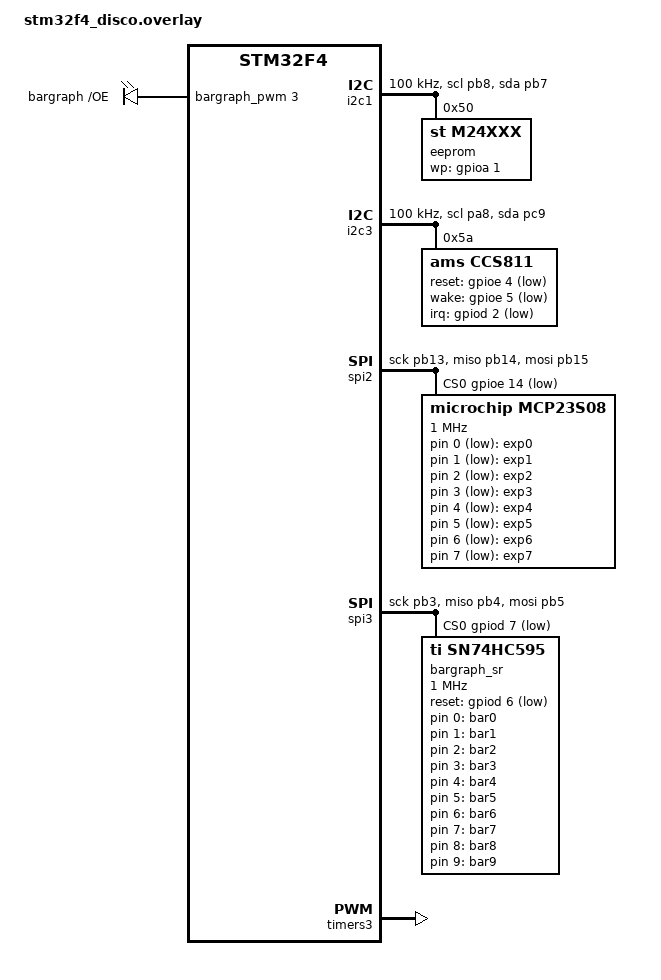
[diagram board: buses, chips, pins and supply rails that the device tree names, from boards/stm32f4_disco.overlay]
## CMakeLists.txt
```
# SPDX-License-Identifier: Apache-2.0

cmake_minimum_required(VERSION 3.20.0)

find_package(Zephyr REQUIRED HINTS $ENV{ZEPHYR_BASE})
project(mcumgr_custom)

target_include_directories(app PRIVATE include)
target_sources(app PRIVATE
  src/main.c
  src/led_ctrl.c
  src/pattern.c
)
target_sources_ifdef(CONFIG_APP_STORE app PRIVATE src/app_store.c)

# custom MCUmgr groups
target_sources_ifdef(CONFIG_APP_LED_MGMT      app PRIVATE src/led_mgmt.c)
target_sources_ifdef(CONFIG_APP_BARGRAPH_MGMT app PRIVATE src/bargraph_mgmt.c)
target_sources_ifdef(CONFIG_APP_AIRQ_MGMT     app PRIVATE src/airq_mgmt.c)
target_sources_ifdef(CONFIG_APP_PATTERN_MGMT  app PRIVATE src/pattern_mgmt.c)
target_sources_ifdef(CONFIG_APP_ALCOHOL_MGMT  app PRIVATE src/alcohol_mgmt.c)
target_sources_ifdef(CONFIG_APP_EEPROM_MGMT   app PRIVATE src/eeprom_mgmt.c)
```

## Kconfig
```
# SPDX-License-Identifier: Apache-2.0

mainmenu "MCUmgr update + custom groups"

config APP_BOOT_BLINK_MS
	int "Boot state of LED 0: blink toggle interval in ms"
	default 1000
	help
	  LED 0 blinks at this rate after boot, until a client changes it.
	  Each test image uses a different rate, so the running version is
	  visible on the board.

config APP_SIMULATE_BAD_IMAGE
	bool "Simulate a broken image (never confirm)"
	help
	  The self-test fails, so the image is never confirmed and MCUboot
	  reverts it at the next reset.

config APP_LED_WQ_STACK_SIZE
	int "Stack size of the LED blink work queue"
	default 1024
	help
	  The blinking runs from a work queue, not from timer ISRs: LEDs on
	  SPI expanders (MCP23S08, 74HC595) cannot be driven from an ISR.

module = APP
module-str = Application
source "subsys/logging/Kconfig.template.log_config"

# Custom MCUmgr groups. IDs in include/app_mgmt.h.

config APP_LED_MGMT
	bool "Custom MCUmgr group 64: led"
	default y
	depends on MCUMGR
	# response: base map -> "leds" list -> one map per LED
	select MCUMGR_SMP_CBOR_MIN_ENCODING_LEVEL_2
	select MCUMGR_SMP_CBOR_MIN_DECODING_LEVEL_1
	help
	  Read and set the state of all the LEDs (board, expander, bargraph):
	  on, off, blink. See include/led_mgmt.h.

config APP_BARGRAPH_MGMT
	bool "Custom MCUmgr group 65: bargraph"
	default y
	depends on MCUMGR && PWM && DT_HAS_TI_SN74HC595_ENABLED
	depends on $(dt_nodelabel_enabled,bargraph_leds)
	select MCUMGR_SMP_CBOR_MIN_DECODING_LEVEL_1
	help
	  BarGraph click: level, segment mask and PWM brightness.
	  See include/bargraph_mgmt.h.

config APP_AIRQ_MGMT
	bool "Custom MCUmgr group 66: airq"
	default y
	depends on MCUMGR && I2C && GPIO && DT_HAS_AMS_CCS811_ENABLED
	# diag response: base map -> "probe" list -> one map per address
	select MCUMGR_SMP_CBOR_MIN_ENCODING_LEVEL_2
	help
	  Air Quality 3 click (CCS811): eCO2 and TVOC, and an I2C diagnostic.
	  See include/airq_mgmt.h.

# the comma of "zephyr,user" would split the macro arguments
ZEPHYR_USER := zephyr,user

config APP_ALCOHOL_MGMT
	bool "Custom MCUmgr group 68: alcohol"
	default y
	depends on MCUMGR && ADC && $(dt_node_has_prop,/$(ZEPHYR_USER),io-channels)
	help
	  Alcohol click (MQ-3, analog output on the mikroBUS AN pin): sensor
	  voltage, clean air baseline. See include/alcohol_mgmt.h.

config APP_ALCOHOL_WARMUP_S
	int "MQ-3 heater warm-up after power on, in s"
	depends on APP_ALCOHOL_MGMT
	default 180
	help
	  "warming" is true in the measure response during this time after
	  boot: the MQ-3 output drifts while its heater warms up. A new
	  sensor needs about 24 h of burn-in for stable values.

config APP_ALCOHOL_SAMPLES
	int "ADC samples averaged per measure"
	depends on APP_ALCOHOL_MGMT
	range 1 256
	default 16

config APP_EEPROM_MGMT
	bool "Custom MCUmgr group 69: eeprom"
	default y
	depends on MCUMGR && EEPROM && $(dt_nodelabel_enabled,eeprom)
	help
	  EEPROM click raw access (info, read, write, erase) and the LED
	  settings store. See include/eeprom_mgmt.h.

config APP_STORE
	bool "Keep the LED settings in the EEPROM"
	default y
	depends on EEPROM && CRC && $(dt_nodelabel_enabled,eeprom)
	# save a pending change before an SMP reset
	select MCUMGR_MGMT_NOTIFICATION_HOOKS if MCUMGR_GRP_OS
	select MCUMGR_GRP_OS_RESET_HOOK if MCUMGR_GRP_OS
	help
	  LED modes and periods and the bank patterns are saved in the
	  EEPROM click and restored at boot. See include/app_store.h.

if APP_STORE

config APP_STORE_OFFSET
	hex "EEPROM offset of the settings record"
	default 0x300
	help
	  Default: the last 256-byte block of the 24C08 (0x300..0x3ff).

config APP_STORE_SIZE
	int "EEPROM bytes reserved for the settings record"
	default 256
	help
	  Two copies of the record, half each.

config APP_STORE_AUTOSAVE
	bool "Save the settings after each change made over SMP"
	default y
	help
	  Off: only the "eeprom store save" command writes them. Can also be
	  switched at run time (eeprom group, command store).

config APP_STORE_DELAY_MS
	int "Delay between the last change and the save, in ms"
	default 2000
	help
	  Changes within this delay give one EEPROM write (the 24C08 takes
	  about 1 million write cycles per byte).

endif # APP_STORE

config APP_PATTERN_MGMT
	bool "Custom MCUmgr group 67: pattern"
	default y
	depends on MCUMGR
	# response: base map -> "banks" list -> one map per bank
	select MCUMGR_SMP_CBOR_MIN_ENCODING_LEVEL_2
	select MCUMGR_SMP_CBOR_MIN_DECODING_LEVEL_1
	help
	  LED patterns run by the firmware (k2000, chase, fill, alternate,
	  counter) on the board, expander or bargraph LEDs.
	  See include/pattern_mgmt.h.

config APP_AIRQ_INIT_DELAY_MS
	int "Delay before the CCS811 start, in ms"
	depends on APP_AIRQ_MGMT
	default 2500
	help
	  src/airq_mgmt.c starts the sensor after this delay, once the USB
	  log is up, so a failure is visible. It tries 3 times, then the
	  measure command tries again every 5 s.

source "Kconfig.zephyr"
```

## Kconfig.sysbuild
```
# SPDX-License-Identifier: Apache-2.0

# STM32F407VG: 128 KiB sectors -> swap using scratch (keeps test / confirm
# and rollback), as the other STM32F4 boards of Zephyr.
choice MCUBOOT_MODE
	default MCUBOOT_MODE_SWAP_SCRATCH if "$(BOARD)" = "stm32f4_disco"
endchoice

source "share/sysbuild/Kconfig"
```

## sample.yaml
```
sample:
  name: MCUmgr update + custom groups
  description: >
    Signed MCUboot application: image update over SMP/UART plus custom
    SMP groups (LED control and application version)
common:
  sysbuild: true
  # no console output: tested with scripts/smp_client.py, see README.md
  build_only: true
  platform_allow:
    - stm32f4_disco
  integration_platforms:
    - stm32f4_disco
  tags: mcumgr mcuboot dfu
tests:
  sample.mcumgr_custom.v1: {}
  sample.mcumgr_custom.v2:
    extra_args: EXTRA_CONF_FILE="v2.conf"
  sample.mcumgr_custom.bad:
    extra_args: EXTRA_CONF_FILE="bad.conf"
  sample.mcumgr_custom.alcohol:
    extra_args:
      - EXTRA_DTC_OVERLAY_FILE="boards/clicks/alcohol_slot1.overlay"
      - EXTRA_CONF_FILE="boards/clicks/alcohol_slot1.conf"
```

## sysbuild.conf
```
# Build MCUboot together with the application.
# The MCUboot mode depends on the flash layout of the board: Kconfig.sysbuild
SB_CONFIG_BOOTLOADER_MCUBOOT=y
```

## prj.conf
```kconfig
# LEDs, click boards (see boards/stm32f4_disco.overlay)
CONFIG_GPIO=y
CONFIG_SPI=y
CONFIG_I2C=y
CONFIG_PWM=y
CONFIG_SENSOR=y
# the airq group drives the CCS811 itself (src/airq_mgmt.c)
CONFIG_CCS811=n
CONFIG_EEPROM=y

# MCUmgr core
CONFIG_NET_BUF=y
CONFIG_ZCBOR=y
CONFIG_CRC=y
CONFIG_BASE64=y
CONFIG_MCUMGR=y
CONFIG_SYSTEM_WORKQUEUE_STACK_SIZE=2304
CONFIG_MAIN_STACK_SIZE=2176

# "led get" answers with up to 22 LEDs (~1 KiB of CBOR): larger SMP buffers.
# NETBUF_SIZE is the largest SMP packet (Zephyr 4.5: the UART MTU option is
# deprecated, the serial frames are 127 bytes anyway).
CONFIG_MCUMGR_TRANSPORT_NETBUF_SIZE=1536

# Image group (upload, test, confirm), OS group (echo, reset).
# The custom groups are CONFIG_APP_*_MGMT (Kconfig, default y).
CONFIG_FLASH=y
CONFIG_FLASH_MAP=y
CONFIG_STREAM_FLASH=y
CONFIG_IMG_MANAGER=y
CONFIG_MCUMGR_GRP_IMG=y
CONFIG_MCUMGR_GRP_OS=y

# OS group info (uname-like: kernel version, build date, board) and
# bootloader info (name, MCUboot mode)
CONFIG_MCUMGR_GRP_OS_INFO=y
CONFIG_MCUMGR_GRP_OS_INFO_BUILD_DATE_TIME=y
CONFIG_MCUMGR_GRP_OS_BOOTLOADER_INFO=y

# Signed image for MCUboot
CONFIG_BOOTLOADER_MCUBOOT=y

# SMP on its own UART (zephyr,uart-mcumgr = USART2, shield FT232RL): it
# carries only SMP frames. MCUboot still prints its boot log there at
# reset; SMP clients skip non-SMP lines.
CONFIG_UART_MCUMGR=y
CONFIG_MCUMGR_TRANSPORT_UART=y

# Console, printk and logs on USB CDC ACM (zephyr,console = cdc_acm_log,
# Discovery micro-USB OTG). Without a host on the port the output is
# dropped, never blocking.
CONFIG_USB_DEVICE_STACK_NEXT=y
CONFIG_CDC_ACM_SERIAL_INITIALIZE_AT_BOOT=y
CONFIG_CDC_ACM_SERIAL_PRODUCT_STRING="mcumgr_custom log"
CONFIG_SERIAL=y
CONFIG_CONSOLE=y
CONFIG_UART_CONSOLE=y
CONFIG_UART_LINE_CTRL=y
CONFIG_PRINTK=y
CONFIG_BOOT_BANNER=y
CONFIG_SHELL=n

CONFIG_LOG=y
CONFIG_LOG_BACKEND_UART=y
# keep the boot messages until the USB log port is enumerated and opened
CONFIG_LOG_PROCESS_THREAD_STARTUP_DELAY_MS=2500
CONFIG_LOG_BUFFER_SIZE=4096
CONFIG_LOG_DEFAULT_LEVEL=3
# app modules (main, led_ctrl, bargraph, airq, alcohol, pattern): _INF info, _DBG debug
CONFIG_APP_LOG_LEVEL_INF=y
```

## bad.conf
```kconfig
# Broken image: boots but never confirms -> rollback test
CONFIG_APP_BOOT_BLINK_MS=50
CONFIG_APP_SIMULATE_BAD_IMAGE=y
CONFIG_MCUBOOT_IMGTOOL_SIGN_VERSION="3.0.0+0"
```

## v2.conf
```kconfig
# Second image: fast blink, higher MCUboot version
CONFIG_APP_BOOT_BLINK_MS=150
CONFIG_MCUBOOT_IMGTOOL_SIGN_VERSION="2.0.0+0"
```

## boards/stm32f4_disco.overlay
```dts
/*
 * SPDX-License-Identifier: Apache-2.0
 *
 * STM32F4DISCOVERY (STM32F407G-DISC1) + MikroElektronika STM32F4 Discovery
 * Shield (MIKROE-1481), from the shield schematic (user manual v1.00):
 *
 *            mikroBUS 1      mikroBUS 2      mikroBUS 3        mikroBUS 4
 *   AN       PC1             PC2             PC5               PB0
 *   RST      PE10            PE12            PE4               PD6
 *   CS       PB12            PE14            PE5               PD7
 *   SPI      SPI2 PB13/14/15 SPI2 PB13/14/15 SPI3 PB3/4/5      SPI3 PB3/4/5
 *   PWM      PA1             PE13            PB1 (TIM3_CH4)    PC8
 *   INT      PE7             PE8             PD2               PC11
 *   UART     USART3 PB10/11  USART3 PB10/11  USART6 PC6/7      USART6 PC6/7
 *   I2C      I2C1 PB8/PB7    I2C1 PB8/PB7    I2C3 PA8/PC9      I2C3 PA8/PC9
 *
 * SMP runs on USART2 (PA2 TX, PA3 RX), wired to the shield FT232RL USB-UART
 * (mini-B connector, /dev/ttyUSB0 on the host). USART2 carries only SMP
 * frames (and the MCUboot boot log).
 *
 * Console, printk and Zephyr logs: USB CDC ACM on the Discovery micro-USB
 * OTG connector (CN5, PA11/PA12), /dev/ttyACM* on the host ("mcumgr_custom
 * log"). Logs never mix with the SMP frames.
 *
 * Click boards of this setup:
 *   mikroBUS 1: EEPROM click (MIKROE-1200): ST 24C08, 1 KiB, I2C1 @ 0x50..0x53
 *               (one address per 256-byte block), WP = PWM pin PA1
 *   mikroBUS 2: MCP23S08 GPIO expander (SPI2) driving 8 LEDs, active low
 *   mikroBUS 3: Air Quality 3 click (CCS811), I2C3 @ 0x5a
 *   mikroBUS 4: BarGraph click (MIKROE-1423): two 74HC595 (SPI3, CS PD7 =
 *               latch, RST PD6 = /MR), 10 LED segments, PWM pin PC8
 *               (TIM3_CH3) = output enable (brightness)
 *
 * Other click boards, as extra overlays (boards/clicks/, see README.md):
 *   alcohol_slot1.overlay   Alcohol click on mikroBUS 1 (instead of the
 *                           EEPROM click), with alcohol_slot1.conf
 *
 * LED indexes of the "led" SMP group, in this order:
 *   0..3   board LEDs (led0..led3 aliases: green, orange, red, blue)
 *   4..11  expander_leds (exp0..exp7)
 *   12..21 bargraph_leds (bar0..bar9)
 */

#include <zephyr/dt-bindings/pwm/pwm.h>
#include "stm32f4_disco_partitions.dtsi"

/ {
	chosen {
		zephyr,code-partition = &slot0_partition;
		zephyr,uart-mcumgr = &usart2;
		zephyr,console = &cdc_acm_log;
		zephyr,shell-uart = &cdc_acm_log;
	};

	aliases {
		eeprom-0 = &eeprom;
	};

	/*
	 * mikroBUS 2: one LED per MCP23S08 pin, lit when the pin is low.
	 * Change GPIO_ACTIVE_LOW to GPIO_ACTIVE_HIGH if the board is wired
	 * the other way.
	 */
	expander_leds: expander-leds {
		compatible = "gpio-leds";

		exp-led-0 { gpios = <&mcp23s08 0 GPIO_ACTIVE_LOW>; label = "exp0"; };
		exp-led-1 { gpios = <&mcp23s08 1 GPIO_ACTIVE_LOW>; label = "exp1"; };
		exp-led-2 { gpios = <&mcp23s08 2 GPIO_ACTIVE_LOW>; label = "exp2"; };
		exp-led-3 { gpios = <&mcp23s08 3 GPIO_ACTIVE_LOW>; label = "exp3"; };
		exp-led-4 { gpios = <&mcp23s08 4 GPIO_ACTIVE_LOW>; label = "exp4"; };
		exp-led-5 { gpios = <&mcp23s08 5 GPIO_ACTIVE_LOW>; label = "exp5"; };
		exp-led-6 { gpios = <&mcp23s08 6 GPIO_ACTIVE_LOW>; label = "exp6"; };
		exp-led-7 { gpios = <&mcp23s08 7 GPIO_ACTIVE_LOW>; label = "exp7"; };
	};

	/*
	 * mikroBUS 4: BarGraph click segments on the 16 outputs of the two
	 * chained 74HC595. Assumed: segment n on output n, lit when high. If
	 * the segments light in the wrong order, change the pin numbers; if
	 * inverted, use GPIO_ACTIVE_LOW.
	 */
	bargraph_leds: bargraph-leds {
		compatible = "gpio-leds";

		bar-0 { gpios = <&bargraph_sr 0 GPIO_ACTIVE_HIGH>; label = "bar0"; };
		bar-1 { gpios = <&bargraph_sr 1 GPIO_ACTIVE_HIGH>; label = "bar1"; };
		bar-2 { gpios = <&bargraph_sr 2 GPIO_ACTIVE_HIGH>; label = "bar2"; };
		bar-3 { gpios = <&bargraph_sr 3 GPIO_ACTIVE_HIGH>; label = "bar3"; };
		bar-4 { gpios = <&bargraph_sr 4 GPIO_ACTIVE_HIGH>; label = "bar4"; };
		bar-5 { gpios = <&bargraph_sr 5 GPIO_ACTIVE_HIGH>; label = "bar5"; };
		bar-6 { gpios = <&bargraph_sr 6 GPIO_ACTIVE_HIGH>; label = "bar6"; };
		bar-7 { gpios = <&bargraph_sr 7 GPIO_ACTIVE_HIGH>; label = "bar7"; };
		bar-8 { gpios = <&bargraph_sr 8 GPIO_ACTIVE_HIGH>; label = "bar8"; };
		bar-9 { gpios = <&bargraph_sr 9 GPIO_ACTIVE_HIGH>; label = "bar9"; };
	};

	/*
	 * mikroBUS 4 PWM pin: segment enable. Checked on the board (slot 3):
	 * the segments are on while the pin is high (normal polarity), so the
	 * pulse width is the time the segments are on (brightness).
	 */
	bargraph_pwm_leds {
		compatible = "pwm-leds";

		bargraph_oe: bargraph-oe {
			pwms = <&bargraph_pwm 3 PWM_USEC(500) PWM_POLARITY_NORMAL>;
			label = "bargraph /OE";
		};
	};
};

/*
 * mikroBUS 1 and 2 I2C: I2C1 on PB8 (SCL) / PB7 (SDA). The board default is
 * PB6 / PB9 for the CS43L22 audio codec, which is disconnected (disabled).
 */
&i2c1 {
	pinctrl-0 = <&i2c1_scl_pb8 &i2c1_sda_pb7>;
	pinctrl-names = "default";
	clock-frequency = <I2C_BITRATE_STANDARD>;
	status = "okay";

	/*
	 * mikroBUS 1: EEPROM click, ST M24C08 (8 Kbit): 4 blocks of 256 bytes,
	 * block n at I2C address 0x50 + n (the driver picks the address from
	 * the offset). ADDR jumper (E2) assumed on 0: 0x50..0x53; on 1 it is
	 * 0x54..0x57, use reg = <0x54>.
	 * WP (write control, high = protected) assumed on the mikroBUS PWM pin
	 * PA1: the driver drives it low only while it writes. If the writes
	 * fail ("eeprom write ... IO"), check that pin on the click.
	 * src/app_store.c keeps the LED settings in the last block (0x300).
	 */
	eeprom: eeprom@50 {
		compatible = "st,m24xxx", "atmel,at24";
		reg = <0x50>;
		size = <1024>;
		pagesize = <16>;
		address-width = <8>;
		timeout = <5>;
		wp-gpios = <&gpioa 1 GPIO_ACTIVE_HIGH>;
	};
};

&audio_codec {
	status = "disabled";
};

/*
 * mikroBUS 3 and 4 I2C: I2C3 on PA8 (SCL) / PC9 (SDA).
 */
&i2c3 {
	pinctrl-0 = <&i2c3_scl_pa8 &i2c3_sda_pc9>;
	pinctrl-names = "default";
	clock-frequency = <I2C_BITRATE_STANDARD>;
	status = "okay";

	/*
	 * mikroBUS 3: Air Quality 3 click, ADDR jumper on 0 = 0x5a (0x5b if
	 * the jumper is on 1: "smp_client.py airq --diag" shows which one
	 * answers). src/airq_mgmt.c drives the sensor itself (CONFIG_CCS811=n)
	 * and starts it about 2.5 s after boot, when the USB log is up;
	 * zephyr,deferred-init keeps the Zephyr driver off if it is enabled.
	 */
	ccs811: ccs811@5a {
		compatible = "ams,ccs811";
		reg = <0x5a>;
		zephyr,deferred-init;
		reset-gpios = <&gpioe 4 GPIO_ACTIVE_LOW>;	/* RST */
		wake-gpios = <&gpioe 5 GPIO_ACTIVE_LOW>;	/* CS */
		irq-gpios = <&gpiod 2 GPIO_ACTIVE_LOW>;		/* INT */
	};
};

/* same peripheral as SPI3 (BarGraph click overlay), at the same address */
&i2s3 {
	status = "disabled";
};

/* Discovery micro-USB OTG (CN5): console and logs */
&zephyr_udc0 {
	cdc_acm_log: cdc_acm_log {
		compatible = "zephyr,cdc-acm-uart";
	};
};

/* mikroBUS 2: MCP23S08 on SPI2, CS PE14 */
&spi2 {
	pinctrl-0 = <&spi2_sck_pb13 &spi2_miso_pb14 &spi2_mosi_pb15>;
	pinctrl-names = "default";
	cs-gpios = <&gpioe 14 GPIO_ACTIVE_LOW>;
	status = "okay";

	mcp23s08: gpio@0 {
		compatible = "microchip,mcp23s08";
		reg = <0>;
		spi-max-frequency = <1000000>;
		gpio-controller;
		#gpio-cells = <2>;
		ngpios = <8>;
		/* if the expander RESET pin is wired to mikroBUS 2 RST: */
		/* reset-gpios = <&gpioe 12 GPIO_ACTIVE_LOW>; */
	};
};

/*
 * mikroBUS 4: BarGraph click on SPI3 (shared with mikroBUS 3, whose click
 * is on I2C), CS PD7 = 74HC595 latch (RCLK): the outputs update at the end
 * of each transfer.
 */
&spi3 {
	pinctrl-0 = <&spi3_sck_pb3 &spi3_miso_pb4 &spi3_mosi_pb5>;
	pinctrl-names = "default";
	cs-gpios = <&gpiod 7 GPIO_ACTIVE_LOW>;
	status = "okay";

	bargraph_sr: gpio@0 {
		compatible = "ti,sn74hc595";
		reg = <0>;
		spi-max-frequency = <1000000>;
		gpio-controller;
		#gpio-cells = <2>;
		ngpios = <16>;
		reset-gpios = <&gpiod 6 GPIO_ACTIVE_LOW>;	/* RST = /MR */
	};
};

/* mikroBUS 4 PWM: TIM3_CH3 on PC8. TIM3 is 16 bit: 84 MHz / 84 = 1 MHz */
&timers3 {
	st,prescaler = <83>;
	status = "okay";

	bargraph_pwm: pwm {
		pinctrl-0 = <&tim3_ch3_pc8>;
		pinctrl-names = "default";
		status = "okay";
	};
};
```

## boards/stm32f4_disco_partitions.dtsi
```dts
/*
 * SPDX-License-Identifier: Apache-2.0
 *
 * MCUboot flash layout for the STM32F407VG (1 MiB) of the STM32F4DISCOVERY,
 * used by the application and by MCUboot (see sysbuild.cmake).
 *
 * Sectors: 4 x 16 KiB, 1 x 64 KiB, 7 x 128 KiB. Both slots and the scratch
 * area are made of 128 KiB sectors (swap using scratch).
 */

&flash0 {
	partitions {
		compatible = "fixed-partitions";
		#address-cells = <1>;
		#size-cells = <1>;

		/* sectors 0-3 */
		boot_partition: partition@0 {
			label = "mcuboot";
			reg = <0x00000000 DT_SIZE_K(64)>;
			read-only;
		};

		/* sector 4 (64 KiB) unused */

		/* sectors 5-6 */
		slot0_partition: partition@20000 {
			label = "image-0";
			reg = <0x00020000 DT_SIZE_K(256)>;
		};

		/* sectors 7-8 */
		slot1_partition: partition@60000 {
			label = "image-1";
			reg = <0x00060000 DT_SIZE_K(256)>;
		};

		/* sector 9 */
		scratch_partition: partition@a0000 {
			label = "image-scratch";
			reg = <0x000a0000 DT_SIZE_K(128)>;
		};
	};
};
```

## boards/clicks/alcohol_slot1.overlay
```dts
/*
 * SPDX-License-Identifier: Apache-2.0
 *
 * Alcohol click (MIKROE-1586, MQ-3) on mikroBUS 1, instead of the EEPROM
 * click: analog output on AN = PC1 (ADC1 IN11). Enables the "alcohol"
 * group. Needs CONFIG_ADC (alcohol_slot1.conf):
 *
 *   west build ... -- \
 *     -DEXTRA_DTC_OVERLAY_FILE=boards/clicks/alcohol_slot1.overlay \
 *     -DEXTRA_CONF_FILE=boards/clicks/alcohol_slot1.conf
 *
 * WARNING: the click runs on 5 V and AN can rise above 3.3 V, more than
 * the ADC pin takes: see README.md, "Click boards".
 */

#include <zephyr/dt-bindings/adc/adc.h>

/ {
	zephyr,user {
		io-channels = <&adc1 11>;
		io-channel-names = "alcohol";
	};
};

/* mikroBUS 1 holds one click */
&eeprom {
	status = "disabled";
};

/*
 * The board default ADC pins (PA1, PA6) are dropped: PA1 is the mikroBUS 1
 * PWM pin. The MQ-3 load resistor is up to tens of kOhm: longest sampling
 * time (480 cycles) to charge the ADC.
 */
&adc1 {
	pinctrl-0 = <&adc1_in11_pc1>;
	pinctrl-names = "default";
	#address-cells = <1>;
	#size-cells = <0>;
	status = "okay";

	channel@b {
		reg = <11>;
		zephyr,gain = "ADC_GAIN_1";
		zephyr,reference = "ADC_REF_INTERNAL";
		zephyr,acquisition-time = <ADC_ACQ_TIME(ADC_ACQ_TIME_TICKS, 480)>;
		zephyr,resolution = <12>;
	};
};
```

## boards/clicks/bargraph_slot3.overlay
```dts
/*
 * SPDX-License-Identifier: Apache-2.0
 *
 * BarGraph click (MIKROE-1423) on mikroBUS 3, instead of the Air Quality 3
 * click: two 74HC595 on SPI3 (CS PE5 = latch, RST PE4 = /MR) driving 10
 * LED segments, PWM pin PB1 (TIM3_CH4) = output enable (brightness).
 * Enables the "bargraph" group and the bargraph LED bank.
 *
 *   west build ... -- \
 *     -DEXTRA_DTC_OVERLAY_FILE=boards/clicks/bargraph_slot3.overlay
 */

#include <zephyr/dt-bindings/pwm/pwm.h>

/ {
	/*
	 * Segments on the 16 outputs of the two chained 74HC595. Assumed:
	 * segment n on output n, lit when high. If the segments light in the
	 * wrong order, change the pin numbers; if inverted, GPIO_ACTIVE_LOW.
	 */
	bargraph_leds: bargraph-leds {
		compatible = "gpio-leds";

		bar-0 { gpios = <&bargraph_sr 0 GPIO_ACTIVE_HIGH>; label = "bar0"; };
		bar-1 { gpios = <&bargraph_sr 1 GPIO_ACTIVE_HIGH>; label = "bar1"; };
		bar-2 { gpios = <&bargraph_sr 2 GPIO_ACTIVE_HIGH>; label = "bar2"; };
		bar-3 { gpios = <&bargraph_sr 3 GPIO_ACTIVE_HIGH>; label = "bar3"; };
		bar-4 { gpios = <&bargraph_sr 4 GPIO_ACTIVE_HIGH>; label = "bar4"; };
		bar-5 { gpios = <&bargraph_sr 5 GPIO_ACTIVE_HIGH>; label = "bar5"; };
		bar-6 { gpios = <&bargraph_sr 6 GPIO_ACTIVE_HIGH>; label = "bar6"; };
		bar-7 { gpios = <&bargraph_sr 7 GPIO_ACTIVE_HIGH>; label = "bar7"; };
		bar-8 { gpios = <&bargraph_sr 8 GPIO_ACTIVE_HIGH>; label = "bar8"; };
		bar-9 { gpios = <&bargraph_sr 9 GPIO_ACTIVE_HIGH>; label = "bar9"; };
	};

	/*
	 * PWM pin: segment enable. Checked on the board: the segments are on
	 * while the pin is high (normal polarity), so the pulse width is the
	 * time the segments are on (brightness).
	 */
	bargraph_pwm_leds {
		compatible = "pwm-leds";

		bargraph_oe: bargraph-oe {
			pwms = <&bargraph_pwm 4 PWM_USEC(500) PWM_POLARITY_NORMAL>;
			label = "bargraph /OE";
		};
	};
};

/* mikroBUS 3 holds one click: RST PE4 and CS PE5 are the BarGraph's now */
&ccs811 {
	status = "disabled";
};

/* CS PE5 = 74HC595 latch (RCLK): the outputs update at the end of each transfer */
&spi3 {
	pinctrl-0 = <&spi3_sck_pb3 &spi3_miso_pb4 &spi3_mosi_pb5>;
	pinctrl-names = "default";
	cs-gpios = <&gpioe 5 GPIO_ACTIVE_LOW>;
	status = "okay";

	bargraph_sr: gpio@0 {
		compatible = "ti,sn74hc595";
		reg = <0>;
		spi-max-frequency = <1000000>;
		gpio-controller;
		#gpio-cells = <2>;
		ngpios = <16>;
		reset-gpios = <&gpioe 4 GPIO_ACTIVE_LOW>;	/* RST = /MR */
	};
};

/* TIM3_CH4 on PB1. TIM3 is 16 bit: 84 MHz / 84 = 1 MHz */
&timers3 {
	st,prescaler = <83>;
	status = "okay";

	bargraph_pwm: pwm {
		pinctrl-0 = <&tim3_ch4_pb1>;
		pinctrl-names = "default";
		status = "okay";
	};
};
```

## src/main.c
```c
/*
 * SPDX-License-Identifier: Apache-2.0
 *
 * MCUmgr over UART (USART2 on the MikroE shield FT232RL):
 * - image group (upload / test / confirm) and OS group (echo / reset):
 *   firmware update with MCUboot rollback
 * - custom groups (IDs in include/app_mgmt.h):
 *   - 64 "led" (src/led_mgmt.c): board, expander and bargraph LEDs
 *     on / off / blink, application version
 *   - 65 "bargraph" (src/bargraph_mgmt.c): BarGraph click level, mask,
 *     brightness
 *   - 66 "airq" (src/airq_mgmt.c): Air Quality 3 click eCO2 / TVOC
 *   - 67 "pattern" (src/pattern_mgmt.c): LED patterns run by the firmware
 *   - 68 "alcohol" (src/alcohol_mgmt.c): Alcohol click voltage
 *   - 69 "eeprom" (src/eeprom_mgmt.c): EEPROM click access, LED settings
 *   Each click board group is built only when its devicetree node is there.
 *
 * At boot LED 0 blinks at CONFIG_APP_BOOT_BLINK_MS, so the running image
 * is visible. The other LEDs and the patterns come back from the EEPROM
 * click (src/app_store.c), when it is there. If MCUboot started this
 * image in test mode, the image runs its self-test (the board LEDs; a
 * missing click board does not fail it) and confirms itself (never, with
 * CONFIG_APP_SIMULATE_BAD_IMAGE: MCUboot then reverts it at the next reset).
 */

#include <errno.h>
#include <zephyr/kernel.h>
#include <zephyr/dfu/mcuboot.h>
#include <zephyr/logging/log.h>
#include <app_version.h>

#include "app_store.h"
#include "led_ctrl.h"

LOG_MODULE_REGISTER(app, CONFIG_APP_LOG_LEVEL);

#ifdef CONFIG_MCUBOOT_IMGTOOL_SIGN_VERSION
#define IMAGE_VERSION CONFIG_MCUBOOT_IMGTOOL_SIGN_VERSION
#else
#define IMAGE_VERSION APP_VERSION_EXTENDED_STRING
#endif

int main(void)
{
	bool confirmed = boot_is_img_confirmed();
	int rc;

	LOG_INF("mcumgr_custom image %s, build %s, board %s", IMAGE_VERSION,
		STRINGIFY(APP_BUILD_VERSION), CONFIG_BOARD_TARGET);

	rc = led_ctrl_init();

	if (IS_ENABLED(CONFIG_APP_SIMULATE_BAD_IMAGE)) {
		LOG_WRN("simulated bad image: self-test fails");
		rc = -EIO;
	}

	if (confirmed) {
		LOG_INF("image confirmed");
	} else if (rc == 0) {
		rc = boot_write_img_confirmed();
		if (rc == 0) {
			LOG_INF("image in test: self-test ok, confirmed");
		} else {
			LOG_ERR("image in test: confirm failed (%d)", rc);
		}
	} else {
		LOG_ERR("image in test: self-test failed (%d), not confirmed: "
			"MCUboot reverts it at the next reset", rc);
	}

	(void)led_ctrl_set(0, LED_MODE_BLINK, CONFIG_APP_BOOT_BLINK_MS);

	/* LED modes and patterns saved in the EEPROM click (not LED 0) */
	(void)app_store_restore();

	/* everything else runs from the SMP work queue and the LED work queue */
	return 0;
}
```

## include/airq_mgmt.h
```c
/*
 * SPDX-License-Identifier: Apache-2.0
 *
 * Custom MCUmgr group "airq": Air Quality 3 click (CCS811) on mikroBUS 3
 * (I2C3).
 *
 * Group 66 (APP_MGMT_GROUP_AIRQ), command 0 "measure" (read only):
 *
 *   read   request  {}
 *          response {"eco2": 412, "tvoc": 3, "fresh": true}
 *
 *   "eco2" equivalent CO2 in ppm (400..8192), "tvoc" total volatile
 *   organic compounds in ppb (0..1187). The CCS811 measures every second
 *   (CONFIG_CCS811_DRIVE_MODE_1); "fresh" is false when no new result
 *   came since the previous read (the values are then the previous
 *   ones). Right after power on it answers eco2 0 / 400 for about 20 s;
 *   a new sensor needs a 48 h burn-in for stable values.
 *
 * Command 1 "diag" (read only): sensor state and a raw I2C probe of both
 * CCS811 addresses, with nWAKE asserted and nRESET released:
 *
 *   read   request  {}
 *          response {"init": "ok" | "pending" | "failed", "init_rc": -5,
 *                    "step": "meas_mode", "addr": 90,
 *                    "probe": [{"addr": 90, "ack": true, "hw_id": 129,
 *                               "hw_version": 18, "status": 152,
 *                               "error_id": 0, "fw_app": 4352},
 *                              {"addr": 91, "ack": false}]}
 *
 *   "addr" is the devicetree address. A CCS811 answers hw_id 0x81;
 *   status bit 4 (0x10) APP_VALID: application firmware present,
 *   bit 7 (0x80) FW_MODE: application running, bit 0 ERROR: see error_id.
 *
 *   "step": where the last start failed ("" when running): reset,
 *   hw_id, status, app_valid, app_start, meas_mode, check.
 *
 * The sample drives the sensor itself (not the Zephyr ccs811 driver). It
 * starts it CONFIG_APP_AIRQ_INIT_DELAY_MS after boot, so the result
 * reaches the USB log: reset, APP_START, MEAS_MODE 1 s, each I2C transfer
 * retried; 3 tries. After a failure, or 3 failed reads in a row, the
 * measure command starts it again (at most every 5 s): reseating the
 * click needs no MCU reset.
 *
 * Errors: a group error.
 */

#ifndef AIRQ_MGMT_H_
#define AIRQ_MGMT_H_

#include "app_mgmt.h"

#define AIRQ_MGMT_GROUP_ID	APP_MGMT_GROUP_AIRQ

enum airq_mgmt_cmd {
	AIRQ_MGMT_ID_MEASURE = 0,
	AIRQ_MGMT_ID_DIAG = 1,
};

enum airq_mgmt_err {
	AIRQ_MGMT_ERR_OK = 0,
	AIRQ_MGMT_ERR_UNKNOWN,
	AIRQ_MGMT_ERR_NO_DEVICE,	/* sensor not started: see "diag" and the log */
	AIRQ_MGMT_ERR_IO,		/* I2C read failed */
	AIRQ_MGMT_ERR_INIT_PENDING,	/* not started yet (first seconds) */
};

#endif /* AIRQ_MGMT_H_ */
```

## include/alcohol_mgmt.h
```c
/*
 * SPDX-License-Identifier: Apache-2.0
 *
 * Custom MCUmgr group "alcohol": Alcohol click (MIKROE-1586, MQ-3) on
 * mikroBUS 1. The click gives an analog voltage on the AN pin (PC1,
 * ADC1 IN11): it rises with the alcohol concentration.
 *
 * Group 68 (APP_MGMT_GROUP_ALCOHOL), command 0 "measure":
 *
 *   read   request  {}
 *          response {"raw": 812, "mv": 654, "full_mv": 3300,
 *                    "saturated": false, "warming": false,
 *                    "baseline_mv": 610, "delta_mv": 44}
 *
 *   "raw" ADC counts (12 bit, average of CONFIG_APP_ALCOHOL_SAMPLES),
 *   "mv" the AN voltage, "full_mv" the ADC full scale (VREF).
 *   "saturated": the voltage is at the full scale, the real one may be
 *   higher: lower the load resistor (potentiometer on the click), see
 *   the warning below.
 *   "warming": less than CONFIG_APP_ALCOHOL_WARMUP_S since boot, the
 *   heater output is not stable yet.
 *   "baseline_mv" / "delta_mv": only once a baseline is set (clean air
 *   voltage, RAM only): delta_mv = mv - baseline_mv, the alcohol signal.
 *
 *   write  request  {"calibrate": true}        baseline = the voltage now
 *                   {"baseline_mv": 610}       baseline set by hand
 *                   {"baseline_mv": 0}         no baseline
 *          response as the read
 *
 * The MQ-3 gives no ppm by itself: that needs its load resistor (the
 * potentiometer) and a calibration with a known concentration.
 *
 * WARNING: the click runs on 5 V and its AN output can go up to 5 V at
 * high concentration; the STM32 ADC input takes at most 3.3 V. Check
 * the AN voltage with a meter (and the potentiometer) before relying on
 * high readings, or add a divider.
 *
 * Errors: a group error.
 */

#ifndef ALCOHOL_MGMT_H_
#define ALCOHOL_MGMT_H_

#include "app_mgmt.h"

#define ALCOHOL_MGMT_GROUP_ID	APP_MGMT_GROUP_ALCOHOL

enum alcohol_mgmt_cmd {
	ALCOHOL_MGMT_ID_MEASURE = 0,
};

enum alcohol_mgmt_err {
	ALCOHOL_MGMT_ERR_OK = 0,
	ALCOHOL_MGMT_ERR_UNKNOWN,
	ALCOHOL_MGMT_ERR_NO_DEVICE,	/* ADC not ready or channel setup failed */
	ALCOHOL_MGMT_ERR_IO,		/* ADC read failed */
	ALCOHOL_MGMT_ERR_INVALID,	/* baseline_mv out of 0..full_mv */
};

#endif /* ALCOHOL_MGMT_H_ */
```

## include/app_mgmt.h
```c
/*
 * SPDX-License-Identifier: Apache-2.0
 *
 * Custom MCUmgr group IDs of the application, in one place so they do not
 * collide. User groups start at MGMT_GROUP_ID_PERUSER (64).
 *
 * Each group has its protocol in include/<name>_mgmt.h and its handlers
 * in src/<name>_mgmt.c. Group error codes: 0 OK, 1 UNKNOWN, then
 * group-specific (SMP v2 {"err": {"group": G, "rc": N}}).
 */

#ifndef APP_MGMT_H_
#define APP_MGMT_H_

#include <zephyr/mgmt/mcumgr/mgmt/mgmt_defines.h>

#define APP_MGMT_GROUP_LED	(MGMT_GROUP_ID_PERUSER + 0)	/* 64 */
#define APP_MGMT_GROUP_BARGRAPH	(MGMT_GROUP_ID_PERUSER + 1)	/* 65 */
#define APP_MGMT_GROUP_AIRQ	(MGMT_GROUP_ID_PERUSER + 2)	/* 66 */
#define APP_MGMT_GROUP_PATTERN	(MGMT_GROUP_ID_PERUSER + 3)	/* 67 */
#define APP_MGMT_GROUP_ALCOHOL	(MGMT_GROUP_ID_PERUSER + 4)	/* 68 */
#define APP_MGMT_GROUP_EEPROM	(MGMT_GROUP_ID_PERUSER + 5)	/* 69 */

#endif /* APP_MGMT_H_ */
```

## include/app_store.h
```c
/*
 * SPDX-License-Identifier: Apache-2.0
 *
 * Settings kept in the EEPROM click (src/app_store.c): the mode and blink
 * period of each LED and the pattern of each LED bank, restored at boot.
 *
 * Two copies of the record at CONFIG_APP_STORE_OFFSET (default 0x300, the
 * last 256-byte block of the 24C08), 128 bytes each, little endian:
 *
 *   0   u32  magic "MCst" (0x7473434d)
 *   4   u8   version (2)
 *   5   u8   number of LEDs per bank: board, expander, bargraph (3 bytes)
 *   8   u16  payload length
 *   10  u16  CRC-16/CCITT of bytes 12 .. 16 + length
 *   12  u32  sequence number: the valid copy with the highest one is used
 *   16  payload: per LED {u8 mode, u16 period_ms},
 *                per bank {u8 pattern, u16 step_ms, u8 width}
 *
 * A save writes the other copy and reads it back: a save cut by a reset
 * or a power loss leaves the previous copy valid.
 *
 * The record is written CONFIG_APP_STORE_DELAY_MS after the last change
 * made over SMP (autosave), and only if it differs from the stored one;
 * a pending save is written before an SMP reset (OS group reset hook).
 * A record of another LED layout (other click boards) is not restored.
 * LED 0 is not restored: it blinks the image identity (APP_BOOT_BLINK_MS).
 */

#ifndef APP_STORE_H_
#define APP_STORE_H_

#include <errno.h>
#include <stdbool.h>
#include <stdint.h>

struct app_store_status {
	bool ready;		/* EEPROM device ready */
	bool valid;		/* a valid record is stored */
	bool restored;		/* it was applied at boot */
	bool autosave;
	bool pending;		/* a save is scheduled */
	uint8_t slot;		/* copy in use (0 or 1) */
	uint32_t seq;		/* its sequence number */
	uint32_t saves;		/* records written since boot */
	int last_rc;		/* result of the last EEPROM access, 0 or -errno */
	uint32_t offset;
	uint32_t size;
};

#ifdef CONFIG_APP_STORE

/** At boot, after led_ctrl_init(): applies the stored record. 0, -ENOENT, -errno. */
int app_store_restore(void);

/** An LED or a pattern was changed over SMP: save soon (autosave). */
void app_store_changed(void);

/** Writes the record now. */
int app_store_save(void);

/** Invalidates the record (the next boot starts with all LEDs off). */
int app_store_clear(void);

void app_store_set_autosave(bool on);

void app_store_get_status(struct app_store_status *st);

#else

static inline int app_store_restore(void) { return -ENOTSUP; }
static inline void app_store_changed(void) { }

#endif

#endif /* APP_STORE_H_ */
```

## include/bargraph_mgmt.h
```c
/*
 * SPDX-License-Identifier: Apache-2.0
 *
 * Custom MCUmgr group "bargraph": BarGraph click (MIKROE-1423) on
 * mikroBUS 4, 10 segments on two 74HC595, brightness by PWM.
 *
 * Group 65 (APP_MGMT_GROUP_BARGRAPH), command 0 "state":
 *
 *   read   request  {}
 *          response {"mask": 7, "segments": 10, "brightness": 100}
 *
 *   write  request  {"level": 0..segments}       segments 0..level-1 on
 *                or {"mask": 0..(1 << segments) - 1}
 *                and/or {"brightness": 0..100}  percent
 *          response as read
 *
 *   A write needs at least one key; "level" and "mask" together are
 *   rejected. Segment n is bit n of "mask" and LED bar<n> of the "led"
 *   group: segments set here show there (and can blink from there; a
 *   blinking segment counts as on in "mask").
 *   The brightness applies to all segments; it is not saved (100 after
 *   a reset).
 *
 * Errors: MGMT_ERR_EINVAL for a malformed request, else a group error.
 */

#ifndef BARGRAPH_MGMT_H_
#define BARGRAPH_MGMT_H_

#include "app_mgmt.h"

#define BARGRAPH_MGMT_GROUP_ID	APP_MGMT_GROUP_BARGRAPH

enum bargraph_mgmt_cmd {
	BARGRAPH_MGMT_ID_STATE = 0,
};

enum bargraph_mgmt_err {
	BARGRAPH_MGMT_ERR_OK = 0,
	BARGRAPH_MGMT_ERR_UNKNOWN,
	BARGRAPH_MGMT_ERR_INVALID_LEVEL,	/* level > segments */
	BARGRAPH_MGMT_ERR_INVALID_MASK,		/* bit above the last segment */
	BARGRAPH_MGMT_ERR_INVALID_BRIGHTNESS,	/* > 100 */
	BARGRAPH_MGMT_ERR_NO_DEVICE,		/* 74HC595 or PWM not ready */
	BARGRAPH_MGMT_ERR_IO,			/* SPI or PWM write failed */
};

#endif /* BARGRAPH_MGMT_H_ */
```

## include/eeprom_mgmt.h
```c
/*
 * SPDX-License-Identifier: Apache-2.0
 *
 * Custom MCUmgr group "eeprom": EEPROM click (ST 24C08, 1 KiB) on
 * mikroBUS 1, and the LED settings kept in it (include/app_store.h).
 *
 * Group 69 (APP_MGMT_GROUP_EEPROM):
 *
 * Command 0 "info" (read):
 *   response {"size": 1024, "page": 16, "chip": "24C08",
 *             "store_off": 768, "store_size": 256}
 *
 * Command 1 "data":
 *   read   request  {"off": 0, "len": 64}            len 1..256
 *          response {"off": 0, "data": h'...'}
 *   write  request  {"off": 16, "data": h'48656c6c6f'} 1..256 bytes
 *          response {"off": 16, "len": 5}
 *   A write is read back and compared (IO error if it differs: WP?).
 *   Writing into the store area (store_off..) breaks the stored record:
 *   the next boot does not restore it, the next save rewrites it.
 *
 * Command 2 "erase" (write): fills with 0xff
 *   request  {"off": 0, "len": 1024}   (both optional: the whole EEPROM)
 *   response {"off": 0, "len": 1024}
 *
 * Command 3 "store": the LED settings record
 *   read   response {"ready": true, "valid": true, "restored": true,
 *                    "autosave": true, "pending": false, "slot": 1,
 *                    "seq": 7, "saves": 3,
 *                    "last_rc": 0}
 *   write  request  {"action": "save" | "restore" | "clear"}
 *                   {"autosave": false}
 *          response as the read
 *
 * Errors: a group error.
 */

#ifndef EEPROM_MGMT_H_
#define EEPROM_MGMT_H_

#include "app_mgmt.h"

#define EEPROM_MGMT_GROUP_ID	APP_MGMT_GROUP_EEPROM

#define EEPROM_MGMT_CHUNK_MAX	256

enum eeprom_mgmt_cmd {
	EEPROM_MGMT_ID_INFO = 0,
	EEPROM_MGMT_ID_DATA = 1,
	EEPROM_MGMT_ID_ERASE = 2,
	EEPROM_MGMT_ID_STORE = 3,
};

enum eeprom_mgmt_err {
	EEPROM_MGMT_ERR_OK = 0,
	EEPROM_MGMT_ERR_UNKNOWN,
	EEPROM_MGMT_ERR_NO_DEVICE,	/* EEPROM not ready (click missing?) */
	EEPROM_MGMT_ERR_IO,		/* I2C error, or written data reads back different */
	EEPROM_MGMT_ERR_INVALID_RANGE,	/* off / len outside the EEPROM, or len > 256 */
	EEPROM_MGMT_ERR_INVALID_ACTION,	/* store: unknown action */
	EEPROM_MGMT_ERR_NO_RECORD,	/* store restore: no valid record */
	EEPROM_MGMT_ERR_NO_STORE,	/* store: CONFIG_APP_STORE is off */
};

#endif /* EEPROM_MGMT_H_ */
```

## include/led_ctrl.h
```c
/*
 * SPDX-License-Identifier: Apache-2.0
 *
 * LED controller: on, off or blinking, for every LED of the devicetree:
 *
 *   bank      devicetree                          indexes (stm32f4_disco)
 *   BOARD     led0..led3 aliases                  0..3
 *   EXPANDER  children of expander_leds           4..11
 *   BARGRAPH  children of bargraph_leds           12..21
 *
 * Absent banks have no LEDs, the following indexes move down.
 *
 * Callable from threads only (the expander LEDs are on SPI), not from ISRs.
 * The blinking runs from a dedicated work queue.
 */

#ifndef LED_CTRL_H_
#define LED_CTRL_H_

#include <stdbool.h>
#include <stddef.h>
#include <stdint.h>

struct k_work_q;

enum led_mode {
	LED_MODE_OFF,
	LED_MODE_ON,
	LED_MODE_BLINK,
};

enum led_bank {
	LED_BANK_BOARD,
	LED_BANK_EXPANDER,
	LED_BANK_BARGRAPH,
	LED_BANK_COUNT,
};

/**
 * Configures the GPIOs, all LEDs off, starts the blink work queue.
 *
 * @return 0, or -ENODEV if a board LED is not usable. LEDs of the click
 *         boards that are not usable are skipped (led_ctrl_set returns
 *         -ENODEV for them): a missing click board does not fail the
 *         image self-test.
 */
int led_ctrl_init(void);

/** Number of LEDs, all banks. */
size_t led_ctrl_count(void);

/** First index and number of LEDs of a bank (count 0: no such LED). */
void led_ctrl_bank(enum led_bank bank, size_t *first, size_t *count);

/** Devicetree label of the LED ("User LD4", "exp0", "bar3"), or NULL. */
const char *led_ctrl_name(size_t led);

/**
 * Sets one LED. period_ms is the blink toggle interval, ignored unless
 * mode is LED_MODE_BLINK.
 *
 * @return 0, -EINVAL (index), -ERANGE (period), -ENODEV / -EIO (GPIO)
 */
int led_ctrl_set(size_t led, enum led_mode mode, uint32_t period_ms);

/** As led_ctrl_set, without the log line (patterns: one change per step). */
int led_ctrl_set_quiet(size_t led, enum led_mode mode, uint32_t period_ms);

/** Bank of an LED. 0 or -EINVAL. */
int led_ctrl_led_bank(size_t led, enum led_bank *bank);

/** Work queue of the LED blinking, also used by the patterns (pattern.c). */
struct k_work_q *led_ctrl_workq(void);

/** Reads one LED state. period_ms is 0 unless blinking. 0 or -EINVAL. */
int led_ctrl_get(size_t led, enum led_mode *mode, uint32_t *period_ms);

const char *led_mode_name(enum led_mode mode);

#endif /* LED_CTRL_H_ */
```

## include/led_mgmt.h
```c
/*
 * SPDX-License-Identifier: Apache-2.0
 *
 * Custom MCUmgr group "led": the protocol shared by the firmware and the
 * host client (scripts/smp_client.py).
 *
 * Group 64 (APP_MGMT_GROUP_LED), command 0 "state":
 *
 *   read   request  {}
 *          response {"leds": [{"led": 0, "name": "User LD4", "mode": "blink",
 *                              "period_ms": 500},
 *                             {"led": 4, "name": "exp0", "mode": "off",
 *                              "period_ms": 0}, ...]}
 *
 *   write  request  {"led": 0, "mode": "on" | "off" | "blink",
 *                    "period_ms": 500}
 *          response {"led": 0, "name": "User LD4", "mode": "blink",
 *                    "period_ms": 500}
 *
 *   All the LEDs of the board and the click boards, see led_ctrl.h for the
 *   indexes. "name" is the devicetree label. "led" defaults to 0. "period_ms" is the toggle interval (the LED is
 *   on for period_ms then off for period_ms), only used and required for
 *   "blink", LED_PERIOD_MIN_MS..LED_PERIOD_MAX_MS.
 *
 * Command 1 "version" (read only):
 *
 *   read   request  {}
 *          response {"protocol": 2, "image": "2.0.0+0",
 *                    "build": "fafb169561d8", "leds": 22}
 *
 *   "protocol" is LED_MGMT_PROTOCOL_VERSION, raised when a command is added
 *   or changed: a client checks it before using a newer command.
 *   "image" is the version signed in the MCUboot header (the same as in
 *   the image group state), "build" the git describe of the application.
 *
 * Errors: MGMT_ERR_EINVAL for a malformed request (missing "mode", wrong
 * CBOR types); a group error for a well-formed but wrong request:
 *   SMP v2 (version 1 in the header): {"err": {"group": 64, "rc": <led_mgmt_err>}}
 *   SMP v1: {"rc": <MGMT_ERR_*>} (see led_mgmt_translate_error)
 */

#ifndef LED_MGMT_H_
#define LED_MGMT_H_

#include "app_mgmt.h"

#define LED_MGMT_GROUP_ID	APP_MGMT_GROUP_LED

/*
 * 1: "state" (read, write) and "version" (read)
 * 2: "name" in the LED state; expander and bargraph LEDs
 */
#define LED_MGMT_PROTOCOL_VERSION	2

enum led_mgmt_cmd {
	LED_MGMT_ID_STATE = 0,
	LED_MGMT_ID_VERSION = 1,
};

enum led_mgmt_err {
	LED_MGMT_ERR_OK = 0,
	LED_MGMT_ERR_UNKNOWN,
	LED_MGMT_ERR_INVALID_LED,	/* no LED with this index */
	LED_MGMT_ERR_INVALID_MODE,	/* not "on", "off" or "blink" */
	LED_MGMT_ERR_INVALID_PERIOD,	/* blink period missing or out of range */
	LED_MGMT_ERR_GPIO,		/* GPIO not ready (click board missing?) or write failed */
};

#define LED_PERIOD_MIN_MS	20
#define LED_PERIOD_MAX_MS	10000

#endif /* LED_MGMT_H_ */
```

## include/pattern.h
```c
/*
 * SPDX-License-Identifier: Apache-2.0
 *
 * LED patterns, run by the firmware on one bank of LEDs (led_ctrl.h):
 *
 *   k2000      scanner going back and forth, "width" LEDs (head + tail)
 *   chase      running light in one direction, "width" LEDs
 *   fill       bar filling up then emptying
 *   alternate  even / odd LEDs in turn
 *   counter    binary counter
 *
 * One step every step_ms, on the LED work queue: the pattern keeps
 * running without any host. Each bank has its own pattern. A manual
 * change of an LED of the bank (led / bargraph groups) stops the pattern
 * of that bank.
 */

#ifndef PATTERN_H_
#define PATTERN_H_

#include <stdbool.h>
#include <stdint.h>

#include "led_ctrl.h"

enum pattern_id {
	PATTERN_OFF,
	PATTERN_K2000,
	PATTERN_CHASE,
	PATTERN_FILL,
	PATTERN_ALTERNATE,
	PATTERN_COUNTER,
	PATTERN_COUNT,
};

#define PATTERN_STEP_MIN_MS	20
#define PATTERN_STEP_MAX_MS	5000
#define PATTERN_WIDTH_MAX	4

struct pattern_state {
	enum pattern_id id;
	uint32_t step_ms;
	uint32_t width;
};

/**
 * Starts (or replaces) the pattern of a bank. PATTERN_OFF stops it and
 * switches the LEDs of the bank off.
 *
 * @return 0, -ENODEV (no LED in the bank), -EINVAL (pattern),
 *         -ERANGE (step_ms or width)
 */
int pattern_start(enum led_bank bank, enum pattern_id id, uint32_t step_ms, uint32_t width);

/** Stops the pattern of a bank, the LEDs keep their current state. */
void pattern_stop(enum led_bank bank);

/** Stops the pattern of the bank of this LED (manual change of the LED). */
void pattern_stop_led(size_t led);

void pattern_get(enum led_bank bank, struct pattern_state *st);

const char *pattern_name(enum pattern_id id);
int pattern_from_name(const char *name, size_t len, enum pattern_id *id);

const char *led_bank_name(enum led_bank bank);
int led_bank_from_name(const char *name, size_t len, enum led_bank *bank);

#endif /* PATTERN_H_ */
```

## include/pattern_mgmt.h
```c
/*
 * SPDX-License-Identifier: Apache-2.0
 *
 * Custom MCUmgr group "pattern": LED patterns run by the firmware
 * (include/pattern.h).
 *
 * Group 67 (APP_MGMT_GROUP_PATTERN), command 0 "state":
 *
 *   read   request  {}
 *          response {"patterns": ["off", "k2000", "chase", "fill",
 *                                 "alternate", "counter"],
 *                    "banks": [{"bank": "board", "leds": 4,
 *                               "pattern": "off", "step_ms": 0, "width": 0},
 *                              {"bank": "bargraph", "leds": 10,
 *                               "pattern": "k2000", "step_ms": 80,
 *                               "width": 2}, ...]}
 *
 *   write  request  {"bank": "board" | "expander" | "bargraph",
 *                    "pattern": "k2000", "step_ms": 80, "width": 2}
 *          response the bank entry, as in "banks"
 *
 *   "step_ms" 20..5000 (default 100), "width" 1..4 (default 2, k2000 and
 *   chase). "pattern": "off" stops it and switches the bank off. Setting
 *   an LED of the bank (led group, or the bargraph group for the
 *   bargraph) stops its pattern.
 *
 * Errors: MGMT_ERR_EINVAL for a malformed request, else a group error.
 */

#ifndef PATTERN_MGMT_H_
#define PATTERN_MGMT_H_

#include "app_mgmt.h"

#define PATTERN_MGMT_GROUP_ID	APP_MGMT_GROUP_PATTERN

enum pattern_mgmt_cmd {
	PATTERN_MGMT_ID_STATE = 0,
};

enum pattern_mgmt_err {
	PATTERN_MGMT_ERR_OK = 0,
	PATTERN_MGMT_ERR_UNKNOWN,
	PATTERN_MGMT_ERR_INVALID_BANK,		/* unknown name or no LED in it */
	PATTERN_MGMT_ERR_INVALID_PATTERN,
	PATTERN_MGMT_ERR_INVALID_STEP,		/* step_ms or width out of range */
};

#define PATTERN_DEFAULT_STEP_MS	100
#define PATTERN_DEFAULT_WIDTH	2

#endif /* PATTERN_MGMT_H_ */
```
